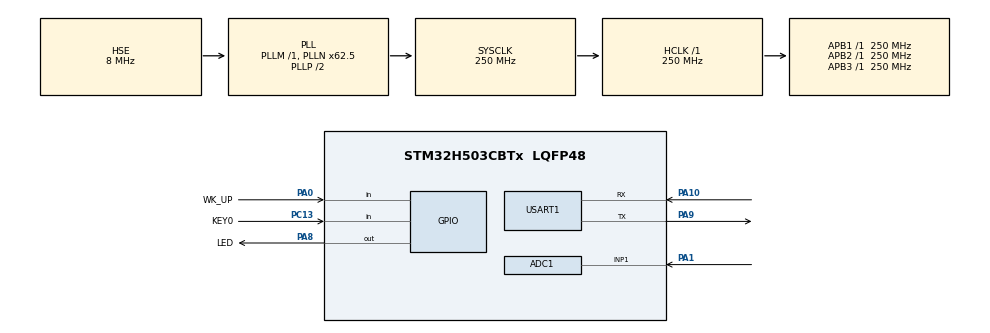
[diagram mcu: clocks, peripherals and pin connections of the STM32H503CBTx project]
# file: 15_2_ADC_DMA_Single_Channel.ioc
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ADC1.Channel-0\#ChannelRegularConversion=ADC_CHANNEL_1
ADC1.ClockPrescaler=ADC_CLOCK_ASYNC_DIV8
ADC1.ContinuousConvMode=ENABLE
ADC1.DMAContinuousRequests=ENABLE
ADC1.MonitoredBy-0\#ChannelRegularConversion=__NULL
ADC1.NbrOfConversionFlag=1
ADC1.OffsetNumber-0\#ChannelRegularConversion=ADC_OFFSET_NONE
ADC1.Overrun=ADC_OVR_DATA_OVERWRITTEN
ADC1.Rank-0\#ChannelRegularConversion=1
ADC1.SamplingTime-0\#ChannelRegularConversion=ADC_SAMPLETIME_247CYCLES_5
ADC1.master=1
BOOTPATH.BootPathName=LEGACY
BOOTPATH.UserSelectedBootPath=LEGACY
GPDMA1.ChannelPRIV_GPDMACH1=DMA_CHANNEL_NPRIV
GPDMA1.LINKALLOCATEDPORT_GPDMACH1=DMA_LINK_ALLOCATED_PORT1
GPDMA1.LINKEDLISTMODE_GPDMACH1=DMA_LINKEDLIST_CIRCULAR
GPDMA1.TRANSFEREVENTMODE_LL_GPDMACH1=DMA_TCEM_EACH_LL_ITEM_TRANSFER
Mcu.Family=STM32H5
Mcu.Name=STM32H503CBTx
Mcu.Package=LQFP48
NVIC.ADC1_IRQn=true\:1\:0\:true\:false\:true\:true\:true\:true
NVIC.GPDMA1_Channel1_IRQn=true\:2\:1\:true\:false\:true\:true\:true\:true
NVIC.PriorityGroup=NVIC_PRIORITYGROUP_2
NVIC.USART1_IRQn=true\:2\:2\:true\:false\:true\:true\:true\:true
PA0.GPIO_Label=WK_UP
PA0.GPIO_PuPd=GPIO_PULLDOWN
PA0.Signal=GPIO_Input
PA1.Signal=ADCx_INP1
PA10.GPIO_ModeDefaultPP=GPIO_MODE_AF_PP
PA10.GPIO_Speed=GPIO_SPEED_FREQ_LOW
PA10.Mode=Asynchronous
PA10.Signal=USART1_RX
PA8.GPIO_Label=LED
PA8.GPIO_ModeDefaultOutputPP=GPIO_MODE_OUTPUT_PP
PA8.GPIO_PuPd=GPIO_PULLUP
PA8.PinState=GPIO_PIN_SET
PA8.Signal=GPIO_Output
PA9.GPIO_Speed=GPIO_SPEED_FREQ_HIGH
PA9.Mode=Asynchronous
PA9.Signal=USART1_TX
PC13.GPIO_Label=KEY0
PC13.GPIO_PuPd=GPIO_PULLDOWN
PC13.Signal=GPIO_Input
PC14-OSC32_IN(OSC32_IN).Mode=LSE-External-Oscillator
PC14-OSC32_IN(OSC32_IN).Signal=RCC_OSC32_IN
PC15-OSC32_OUT(OSC32_OUT).Mode=LSE-External-Oscillator
PC15-OSC32_OUT(OSC32_OUT).Signal=RCC_OSC32_OUT
PH0-OSC_IN(PH0).Mode=HSE-External-Oscillator
PH0-OSC_IN(PH0).Signal=RCC_OSC_IN
PH1-OSC_OUT(PH1).Mode=HSE-External-Oscillator
PH1-OSC_OUT(PH1).Signal=RCC_OSC_OUT
ProjectManager.HeapSize=0x200
ProjectManager.StackSize=0x400
ProjectManager.TargetToolchain=STM32CubeIDE
RCC.ADCFreq_Value=250000000
RCC.AHBFreq_Value=250000000
RCC.APB1Freq_Value=250000000
RCC.APB1TimFreq_Value=250000000
RCC.APB2Freq_Value=250000000
RCC.APB2TimFreq_Value=250000000
RCC.APB3Freq_Value=250000000
RCC.CSI_VALUE=4000000
RCC.CortexFreq_Value=250000000
RCC.EPOD_VALUE=8000000
RCC.HCLKFreq_Value=250000000
RCC.HSE_VALUE=8000000
RCC.HSI48_VALUE=48000000
RCC.HSI_VALUE=64000000
RCC.LSIRC_VALUE=32000
RCC.PLL2Q=20
RCC.PLLFRACN=4096
RCC.PLLN=62
RCC.PLLSourceVirtual=RCC_PLL1_SOURCE_HSE
RCC.PREFETCH_ENABLE=1
RCC.SYSCLKFreq_VALUE=250000000
RCC.SYSCLKSource=RCC_SYSCLKSOURCE_PLLCLK
RCC.USBFreq_Value=48000000
RCC.VCOOutputFreq_Value=500000000
SH.ADCx_INP1.0=ADC1_INP1,IN1-Single-Ended
USART1.VirtualMode=VM_ASYNC
VP_BOOTPATH_VS_BOOTPATH.Mode=BP_Activate
VP_GPDMA1_VS_GPDMACH1.Mode=LINKEDLIST_GPDMACH1
VP_ICACHE_VS_ICACHE.Mode=DefaultMode
VP_MEMORYMAP_VS_MEMORYMAP.Mode=CurAppReg
VP_PWR_VS_DBSignals.Mode=DisableDeadBatterySignals
VP_PWR_VS_LPOM.Mode=PowerOptimisation
VP_PWR_VS_SECSignals.Mode=Security/Privilege
board=custom

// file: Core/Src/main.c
/* USER CODE BEGIN Header */

/* USER CODE END Header */
#include "main.h"
#include "adc.h"
#include "gpdma.h"
#include "icache.h"
#include "memorymap.h"
#include "usart.h"
#include "gpio.h"

/* USER CODE BEGIN Includes */
#include "../../BSP/LED/led.h"
#include "../../BSP/KEY/key.h"
/* USER CODE END Includes */

/* USER CODE BEGIN PV */
#define ADC_DMA_BUF_SIZE 5                       /* ADC DMA buffer size */
static uint16_t g_adc_dma_buf[ADC_DMA_BUF_SIZE]; /* ADC DMA buffer */

extern uint8_t g_adc_dma_sta; /* DMA transfer completion flag */
/* USER CODE END PV */

void SystemClock_Config(void);

/* USER CODE BEGIN 0 */
/**
 * @brief   Displays information about the experiment
 * @param   None
 * @retval  None
 */
void stm32h503cb_show_mesg(void)
{
	/* The serial port outputs the experimental information */
	printf("\n");
	printf("********************************\r\n");
	printf("STM32H503\r\n");
	printf("ADC(DMA Read) Test\r\n");
	printf("ATOM@ALIENTEK\r\n");
	printf("********************************\r\n");
	printf("\r\n");
}
/* USER CODE END 0 */

int main(void)
{
  /* USER CODE BEGIN 1 */
  uint16_t i;
  uint32_t sum;
  uint16_t adcdata;
  uint16_t voltage;
  /* USER CODE END 1 */

  /* MCU Configuration--------------------------------------------------------*/

  /* Reset of all peripherals, Initializes the Flash interface and the Systick. */
  HAL_Init();

  /* Configure the system clock */
  SystemClock_Config();

  /* Initialize all configured peripherals */
  MX_GPIO_Init();
  MX_GPDMA1_Init();
  MX_ICACHE_Init();
  MX_ADC1_Init();
  MX_USART1_UART_Init();
  /* USER CODE BEGIN 2 */
  stm32h503cb_show_mesg();
  HAL_ADCEx_Calibration_Start(&hadc1, ADC_SINGLE_ENDED);
  HAL_ADC_Start_DMA(&hadc1, (uint32_t *)g_adc_dma_buf, ADC_DMA_BUF_SIZE);
  /* USER CODE END 2 */

  /* Infinite loop */
  /* USER CODE BEGIN WHILE */
  while (1)
  {
	  HAL_ADC_Start(&hadc1);

	  if (g_adc_dma_sta == 1)
	  {
	     /* The average value of the ADC data acquired by DMA is calculated */
	     sum = 0;

	     for (i = 0; i < ADC_DMA_BUF_SIZE; i++)/* accumulation */
	     {
	        sum += g_adc_dma_buf[i];
	     }

	     adcdata = sum / ADC_DMA_BUF_SIZE;     /* averaging */

	     /* displaying results */
	     printf("original value:%d\r\n", adcdata);

	     voltage = (adcdata * 3300) / 4096;    /* Gets the calculated actual voltage value with a decimal, such as 3.1111 */
	     printf("voltage:%d.%d\r\n", voltage / 1000, voltage % 1000);

	     g_adc_dma_sta = 0;                    /* Clear the DMA acquisition completion status flag */
	  }

	  LED_TOGGLE();
	  HAL_Delay(500);   /* delay 500ms */

    /* USER CODE END WHILE */

  }
}

void SystemClock_Config(void)
{
  RCC_OscInitTypeDef RCC_OscInitStruct = {0};
  RCC_ClkInitTypeDef RCC_ClkInitStruct = {0};

  /** Configure the main internal regulator output voltage
  */
  __HAL_PWR_VOLTAGESCALING_CONFIG(PWR_REGULATOR_VOLTAGE_SCALE0);

  while(!__HAL_PWR_GET_FLAG(PWR_FLAG_VOSRDY)) {}

  /** Initializes the RCC Oscillators according to the specified parameters
  * in the RCC_OscInitTypeDef structure.
  */
  RCC_OscInitStruct.OscillatorType = RCC_OSCILLATORTYPE_HSE;
  RCC_OscInitStruct.HSEState = RCC_HSE_ON;
  RCC_OscInitStruct.PLL.PLLState = RCC_PLL_ON;
  RCC_OscInitStruct.PLL.PLLSource = RCC_PLL1_SOURCE_HSE;
  RCC_OscInitStruct.PLL.PLLM = 1;
  RCC_OscInitStruct.PLL.PLLN = 62;
  RCC_OscInitStruct.PLL.PLLP = 2;
  RCC_OscInitStruct.PLL.PLLQ = 2;
  RCC_OscInitStruct.PLL.PLLR = 2;
  RCC_OscInitStruct.PLL.PLLRGE = RCC_PLL1_VCIRANGE_3;
  RCC_OscInitStruct.PLL.PLLVCOSEL = RCC_PLL1_VCORANGE_WIDE;
  RCC_OscInitStruct.PLL.PLLFRACN = 4096;
  if (HAL_RCC_OscConfig(&RCC_OscInitStruct) != HAL_OK)
  {
    Error_Handler();
  }

  /** Initializes the CPU, AHB and APB buses clocks
  */
  RCC_ClkInitStruct.ClockType = RCC_CLOCKTYPE_HCLK|RCC_CLOCKTYPE_SYSCLK
                              |RCC_CLOCKTYPE_PCLK1|RCC_CLOCKTYPE_PCLK2
                              |RCC_CLOCKTYPE_PCLK3;
  RCC_ClkInitStruct.SYSCLKSource = RCC_SYSCLKSOURCE_PLLCLK;
  RCC_ClkInitStruct.AHBCLKDivider = RCC_SYSCLK_DIV1;
  RCC_ClkInitStruct.APB1CLKDivider = RCC_HCLK_DIV1;
  RCC_ClkInitStruct.APB2CLKDivider = RCC_HCLK_DIV1;
  RCC_ClkInitStruct.APB3CLKDivider = RCC_HCLK_DIV1;

  if (HAL_RCC_ClockConfig(&RCC_ClkInitStruct, FLASH_LATENCY_5) != HAL_OK)
  {
    Error_Handler();
  }
}

void Error_Handler(void)
{
  __disable_irq();
  while (1)
  {
  }
}
